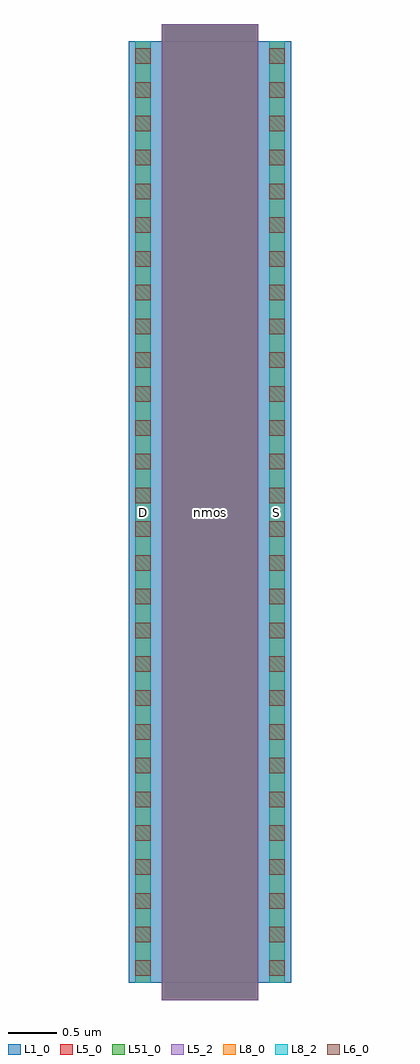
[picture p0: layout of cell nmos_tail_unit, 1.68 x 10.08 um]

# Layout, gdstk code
import gdstk
lib = gdstk.Library(unit=1e-6, precision=1e-09)
def R(c, l, rs):  # rectangles x0, y0, x1, y1
    for r in rs: c.add(gdstk.rectangle(r[:2], r[2:], *l))
def A(c, l, x, y, w, h, nx, ny, dx, dy):  # array of equal rectangles
    R(c, l, [(x+i*dx, y+j*dy, x+i*dx+w, y+j*dy+h) for i in range(nx) for j in range(ny)])
L1_0 = (1, 0)
L5_0 = (5, 0)
L5_2 = (5, 2)
L6_0 = (6, 0)
L8_0 = (8, 0)
L8_2 = (8, 2)
L51_0 = (51, 0)

nmos_tail_unit = lib.new_cell('nmos_tail_unit')
R(nmos_tail_unit, L1_0, [(0,0,0.3,0.3), (0,0,1.68,9.72), (1.38,0,1.68,0.3)])
R(nmos_tail_unit, L5_0, [(0.34,-0.18,1.34,9.9)])
R(nmos_tail_unit, L5_2, [(0.34,-0.18,1.34,9.9)])
A(nmos_tail_unit, L6_0, 0.07, 0.415, 0.16, 0.16, 1, 4, 0, 0.35)
A(nmos_tail_unit, L6_0, 1.45, 0.415, 0.16, 0.16, 1, 4, 0, 0.35)
A(nmos_tail_unit, L6_0, 0.07, 1.81, 0.16, 0.16, 1, 5, 0, 0.35)
A(nmos_tail_unit, L6_0, 1.45, 1.81, 0.16, 0.16, 1, 5, 0, 0.35)
A(nmos_tail_unit, L6_0, 0.07, 3.555, 0.16, 0.16, 1, 4, 0, 0.35)
A(nmos_tail_unit, L6_0, 1.45, 3.555, 0.16, 0.16, 1, 4, 0, 0.35)
A(nmos_tail_unit, L6_0, 0.07, 4.95, 0.16, 0.16, 1, 5, 0, 0.35)
A(nmos_tail_unit, L6_0, 1.45, 4.95, 0.16, 0.16, 1, 5, 0, 0.35)
A(nmos_tail_unit, L6_0, 0.07, 6.695, 0.16, 0.16, 1, 4, 0, 0.35)
A(nmos_tail_unit, L6_0, 1.45, 6.695, 0.16, 0.16, 1, 4, 0, 0.35)
A(nmos_tail_unit, L6_0, 0.07, 8.09, 0.16, 0.16, 1, 5, 0, 0.35)
A(nmos_tail_unit, L6_0, 1.45, 8.09, 0.16, 0.16, 1, 5, 0, 0.35)
R(nmos_tail_unit, L6_0, [(0.07,0.07,0.23,0.23), (1.45,0.07,1.61,0.23)])
R(nmos_tail_unit, L8_0, [(0.07,0,0.23,9.72), (1.45,0,1.61,9.72)])
R(nmos_tail_unit, L8_2, [(0.07,0,0.23,9.72), (1.45,0,1.61,9.72)])
R(nmos_tail_unit, L51_0, [(0.34,-0.18,1.34,9.9)])
nmos_tail_unit.add(gdstk.Label('nmos', (0.84,4.86), layer=63, texttype=0))
nmos_tail_unit.add(gdstk.Label('nmos', (0.84,4.86), layer=51, texttype=0))
nmos_tail_unit.add(gdstk.Label('D', (0.15,4.86), layer=8, texttype=25))
nmos_tail_unit.add(gdstk.Label('S', (1.53,4.86), layer=8, texttype=25))

lib.write_gds('nmos_tail_unit.gds')
